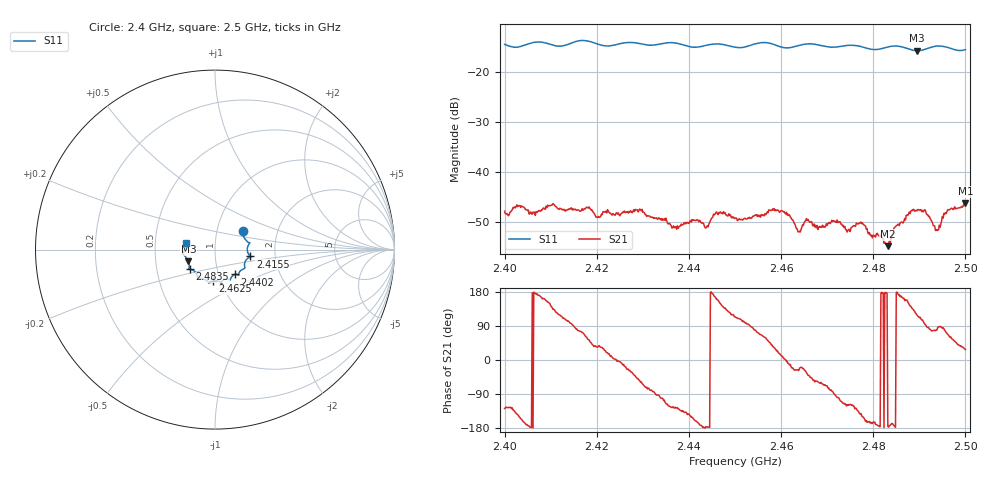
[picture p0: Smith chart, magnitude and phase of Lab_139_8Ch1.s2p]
# Hz S RI R 50
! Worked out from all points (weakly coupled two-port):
!   601 points, 2.4 GHz to 2.5 GHz, reference 50 ohm
!   highest |S21| = -46.31 dB at 2.5 GHz (marker M1); lowest = -54.9 dB at 2.4832 GHz (marker M2)
!   lowest |S11| = -15.8 dB at 2.4895 GHz (marker M3), VSWR 1.39, Z = 36.8 - j4.98 ohm
!   |S11| at or under -10 dB: start of sweep to end of sweep
!   S12 and S22 are empty: the file has one direction only
!   S11 on the Smith chart (normalised r, x): 2.4 GHz: 1.33, +0.29; 2.4155 GHz: 1.49, -0.12; 2.4402 GHz: 1.20, -0.34; 2.4625 GHz: 0.92, -0.33; 2.4835 GHz: 0.74, -0.17; 2.5 GHz: 0.72, +0.06
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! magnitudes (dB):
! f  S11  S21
! 2.4 GHz  -14.5  -47.9
! 2.4155 GHz  -13.9  -47.7
! 2.4167 GHz  -13.8  -47.8
! 2.4333 GHz  -14.5  -49.4
! 2.4368 GHz  -14.2  -51.2
! 2.4402 GHz  -15.0  -50.0
! 2.4463 GHz  -14.4  -48.6
! 2.45 GHz  -15.1  -49.3
! 2.4587 GHz  -14.6  -47.9
! 2.4625 GHz  -15.1  -49.6
! 2.4638 GHz  -14.7  -52.1
! 2.4667 GHz  -14.4  -50.1
! 2.4745 GHz  -14.7  -51.8
! 2.4775 GHz  -15.0  -50.4
! 2.4832 GHz  -15.1  -54.9
! 2.4833 GHz  -15.0  -54.5
! 2.4835 GHz  -15.0  -53.9
! 2.485 GHz  -14.9  -50.9
! 2.4895 GHz  -15.8  -47.9
! 2.494 GHz  -14.9  -51.6
! 2.4958 GHz  -15.1  -48.4
! 2.5 GHz  -15.6  -46.3
